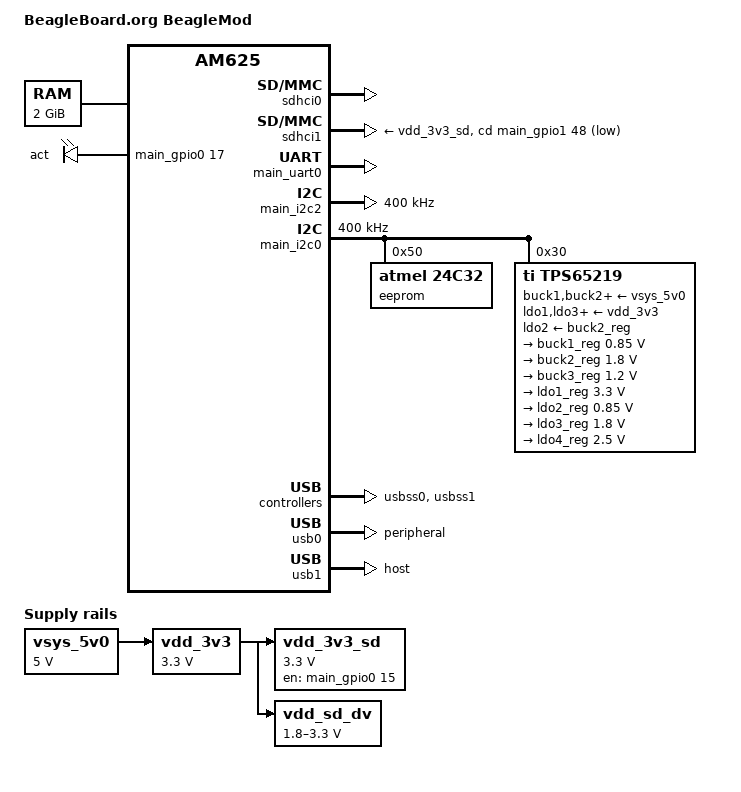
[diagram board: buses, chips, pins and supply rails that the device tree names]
// SPDX-License-Identifier: GPL-2.0

/dts-v1/;

#include <dt-bindings/leds/common.h>
#include <dt-bindings/gpio/gpio.h>
#include "k3-am625.dtsi"

/ {
	compatible = "beagle,am625-beaglemod", "ti,am625";
	model = "BeagleBoard.org BeagleMod";

	aliases {
		gpio0 = &main_gpio0;
		gpio1 = &main_gpio1;
		gpio2 = &mcu_gpio0;
		mmc0 = &sdhci0;
		mmc1 = &sdhci1;
		serial0 = &main_uart0;
		serial7 = &mcu_uart0;
		serial5 = &main_uart5;
		serial2 = &main_uart2;
	};

	chosen {
		stdout-path = "serial0:115200n8";
		base_dtb = "k3-am625-beaglemod.dts";
		base_dtb_timestamp = __TIMESTAMP__;
	};

	memory@80000000 {
		device_type = "memory";
		/* 2G RAM */
		reg = <0x00000000 0x80000000 0x00000000 0x80000000>;
	};

	reserved-memory {
		#address-cells = <2>;
		#size-cells = <2>;
		ranges;

		ramoops: ramoops@9ca00000 {
			compatible = "ramoops";
			reg = <0x00 0x9ca00000 0x00 0x00100000>;
			record-size = <0x8000>;
			console-size = <0x8000>;
			ftrace-size = <0x00>;
			pmsg-size = <0x8000>;
		};

		/* global cma region */
		linux,cma {
			compatible = "shared-dma-pool";
			reusable;
			size = <0x00 0x8000000>;
			linux,cma-default;
		};

		mcu_m4fss_dma_memory_region: m4f-dma-memory@9cb00000 {
			compatible = "shared-dma-pool";
			reg = <0x00 0x9cb00000 0x00 0x100000>;
			no-map;
		};

		mcu_m4fss_memory_region: m4f-memory@9cc00000 {
			compatible = "shared-dma-pool";
			reg = <0x00 0x9cc00000 0x00 0xe00000>;
			no-map;
		};

		secure_tfa_ddr: tfa@9e780000 {
			reg = <0x00 0x9e780000 0x00 0x80000>;
			no-map;
		};

		secure_ddr: optee@9e800000 {
			reg = <0x00 0x9e800000 0x00 0x01800000>;
			no-map;
		};

		wkup_r5fss0_core0_dma_memory_region: r5f-dma-memory@9db00000 {
			compatible = "shared-dma-pool";
			reg = <0x00 0x9db00000 0x00 0xc00000>;
			no-map;
		};
	};

	vsys_5v0: regulator-1 {
		compatible = "regulator-fixed";
		regulator-name = "vsys_5v0";
		regulator-min-microvolt = <5000000>;
		regulator-max-microvolt = <5000000>;
		regulator-always-on;
		regulator-boot-on;
	};

	vdd_3v3: regulator-2 {
		compatible = "regulator-fixed";
		regulator-name = "vdd_3v3";
		regulator-min-microvolt = <3300000>;
		regulator-max-microvolt = <3300000>;
		vin-supply = <&vsys_5v0>;
		regulator-always-on;
		regulator-boot-on;
	};

	vdd_3v3_sd: regulator-4 {
		/* output of TPS22918DBVR */
		pinctrl-names = "default";
		pinctrl-0 = <&vdd_3v3_sd_pins_default>;

		compatible = "regulator-fixed";
		regulator-name = "vdd_3v3_sd";
		regulator-min-microvolt = <3300000>;
		regulator-max-microvolt = <3300000>;
		enable-active-high;
		regulator-always-on;
		vin-supply = <&vdd_3v3>;
		gpio = <&main_gpio0 15 GPIO_ACTIVE_HIGH>;
	};

	vdd_sd_dv: regulator-5 {
		compatible = "regulator-gpio";
		regulator-name = "sd_hs200_switch";
		pinctrl-names = "default";
		pinctrl-0 = <&vdd_sd_dv_pins_default>;
		regulator-min-microvolt = <1800000>;
		regulator-max-microvolt = <3300000>;
		regulator-boot-on;
		vin-supply = <&vdd_3v3>;
		gpios = <&main_gpio1 12 GPIO_ACTIVE_HIGH>;
		states = <1800000 0x1>,
			 <3300000 0x0>;
	};

	leds {
		compatible = "gpio-leds";
		pinctrl-names = "default";
		pinctrl-0 = <&core_board_io>;

		led-1 {
			label = "act";
			gpios = <&main_gpio0 17 GPIO_ACTIVE_HIGH>;
			linux,default-trigger = "mmc1";
			default-state = "off";
		};
	};
};

&main_pmx0 {
	emmc_pins_default: emmc-pins-default {
		pinctrl-single,pins = <
			AM62X_IOPAD(0x0220, PIN_INPUT, 0) /* (Y3) MMC0_CMD */
			AM62X_IOPAD(0x0218, PIN_INPUT, 0) /* (AB1) MMC0_CLK */
			AM62X_IOPAD(0x0214, PIN_INPUT, 0) /* (AA2) MMC0_DAT0 */
			AM62X_IOPAD(0x0210, PIN_INPUT, 0) /* (AA1) MMC0_DAT1 */
			AM62X_IOPAD(0x020c, PIN_INPUT, 0) /* (AA3) MMC0_DAT2 */
			AM62X_IOPAD(0x0208, PIN_INPUT, 0) /* (Y4) MMC0_DAT3 */
			AM62X_IOPAD(0x0204, PIN_INPUT, 0) /* (AB2) MMC0_DAT4 */
			AM62X_IOPAD(0x0200, PIN_INPUT, 0) /* (AC1) MMC0_DAT5 */
			AM62X_IOPAD(0x01fc, PIN_INPUT, 0) /* (AD2) MMC0_DAT6 */
			AM62X_IOPAD(0x01f8, PIN_INPUT, 0) /* (AC2) MMC0_DAT7 */
		>;
	};

	sd_pins_default: sd-pins-default {
		pinctrl-single,pins = <
			AM62X_IOPAD(0x023c, PIN_INPUT, 0) /* (A21) MMC1_CMD */
			AM62X_IOPAD(0x0234, PIN_INPUT, 0) /* (B22) MMC1_CLK */
			AM62X_IOPAD(0x0230, PIN_INPUT, 0) /* (A22) MMC1_DAT0 */
			AM62X_IOPAD(0x022c, PIN_INPUT, 0) /* (B21) MMC1_DAT1 */
			AM62X_IOPAD(0x0228, PIN_INPUT, 0) /* (C21) MMC1_DAT2 */
			AM62X_IOPAD(0x0224, PIN_INPUT, 0) /* (D22) MMC1_DAT3 */
			AM62X_IOPAD(0x0240, PIN_INPUT, 7) /* (D17) MMC1_SDCD.GPIO1_48 */
		>;
	};

	vdd_3v3_sd_pins_default: vdd-3v3-sd-pins-default {
		pinctrl-single,pins = <
			AM62X_IOPAD(0x003c, PIN_OUTPUT, 7) /* (M25) GPMC0_AD0.GPIO0_15 */
		>;
	};

	vdd_sd_dv_pins_default: vdd-sd-pins-default {
		pinctrl-single,pins = <
			AM62X_IOPAD(0x01a8, PIN_OUTPUT, 7) /* (D20) MCASP0_AFSX.GPIO1_12 */
		>;
	};

	core_board_io: core-board-io {
		pinctrl-single,pins = <
			AM62X_IOPAD(0x0044, PIN_OUTPUT, 7) /* (N24) GPMC0_AD2.GPIO0_17 */
		>;
	};

	console_pins_default: console-pins-default {
		pinctrl-single,pins = <
			AM62X_IOPAD(0x01c8, PIN_INPUT, 0) /* (D14) UART0_RXD */
			AM62X_IOPAD(0x01cc, PIN_OUTPUT, 0) /* (E14) UART0_TXD */
		>;
	};

	i2c2_1v8_pins_default: i2c2-pins-default {
		pinctrl-single,pins = <
			AM62X_IOPAD(0x00b0, PIN_INPUT_PULLUP, 1) /* (K22) GPMC0_CSn2.I2C2_SCL */
			AM62X_IOPAD(0x00b4, PIN_INPUT_PULLUP, 1) /* (K24) GPMC0_CSn3.I2C2_SDA */
		>;
	};

	local_i2c_pins_default: local-i2c-pins-default {
		pinctrl-single,pins = <
			AM62X_IOPAD(0x01e0, PIN_INPUT_PULLUP, 0) /* (B16) I2C0_SCL */
			AM62X_IOPAD(0x01e4, PIN_INPUT_PULLUP, 0) /* (A16) I2C0_SDA */
		>;
	};

	pmic_irq_pins_default: pmic-irq-pins-default {
		pinctrl-single,pins = <
			AM62X_IOPAD(0x01f4, PIN_INPUT_PULLUP, 0) /* (D16) EXTINTn */
		>;
	};

	mcasp1_pins_default: mcasp1-pins-default {
		pinctrl-single,pins = <
			AM62X_IOPAD(0x0090, PIN_INPUT, 2) /* (M24) GPMC0_BE0n_CLE.MCASP1_ACLKX */
			AM62X_IOPAD(0x0098, PIN_INPUT, 2) /* (U23) GPMC0_WAIT0.MCASP1_AFSX */
			AM62X_IOPAD(0x008c, PIN_INPUT, 2) /* (L25) GPMC0_WEn.MCASP1_AXR0 */
			AM62X_IOPAD(0x0088, PIN_OUTPUT, 2) /* (L24) GPMC0_OEn_REn.MCASP1_AXR1 */
			AM62X_IOPAD(0x007c, PIN_INPUT, 2) /* (P25) GPMC0_CLK.MCASP1_AXR3 */
		>;
	};

	main_i2c1_pins_default: main-i2c1-pins-default {
		pinctrl-single,pins = <
			AM62X_IOPAD(0x01e8, PIN_INPUT_PULLUP, 0) /* (B17) I2C1_SCL */
			AM62X_IOPAD(0x01ec, PIN_INPUT_PULLUP, 0) /* (A17) I2C1_SDA */
		>;
	};
};

&mcu_pmx0 {
	wkup_i2c0_pins_default: wkup-i2c0-pins-default {
		pinctrl-single,pins = <
			AM62X_MCU_IOPAD(0x004c, PIN_INPUT_PULLUP, 0) /* (B9) WKUP_I2C0_SCL */
			AM62X_MCU_IOPAD(0x0050, PIN_INPUT_PULLUP, 0) /* (A9) WKUP_I2C0_SDA */
		>;
	};

	mcu_i2c0_pins_default: i2c-qwiic-pins-default {
		pinctrl-single,pins = <
			AM62X_MCU_IOPAD(0x0044, PIN_INPUT, 0) /* (A8) MCU_I2C0_SCL */
			AM62X_MCU_IOPAD(0x0048, PIN_INPUT, 0) /* (D10) MCU_I2C0_SDA */
		>;
	};
};

&sdhci0 {
	pinctrl-names = "default";
	pinctrl-0 = <&emmc_pins_default>;
	ti,driver-strength-ohm = <50>;
	disable-wp;
	status = "okay";
};

&sdhci1 {
	/* SD/MMC */
	pinctrl-names = "default";
	pinctrl-0 = <&sd_pins_default>;

	vmmc-supply = <&vdd_3v3_sd>;
	vqmmc-supply = <&vdd_sd_dv>;
	ti,driver-strength-ohm = <50>;
	disable-wp;
	cd-gpios = <&main_gpio1 48 GPIO_ACTIVE_LOW>;
	cd-debounce-delay-ms = <100>;
	ti,fails-without-test-cd;
	status = "okay";
};

&main_uart0 {
	pinctrl-names = "default";
	pinctrl-0 = <&console_pins_default>;
	status = "okay";
};

/* There is a MCU(MSPM0L1306SRGE) on main board, which can be touched via i2c2. */
&main_i2c2 {
	pinctrl-names = "default";
	pinctrl-0 = <&i2c2_1v8_pins_default>;
	clock-frequency = <400000>;
	status = "okay";
};

&main_i2c0 {
	pinctrl-names = "default";
	pinctrl-0 = <&local_i2c_pins_default>;
	clock-frequency = <400000>;
	status = "okay";

	eeprom@50 {
		compatible = "atmel,24c32";
		reg = <0x50>;
	};

	tps65219: pmic@30 {
		compatible = "ti,tps65219";
		reg = <0x30>;
		buck1-supply = <&vsys_5v0>;
		buck2-supply = <&vsys_5v0>;
		buck3-supply = <&vsys_5v0>;
		ldo1-supply = <&vdd_3v3>;
		ldo2-supply = <&buck2_reg>;
		ldo3-supply = <&vdd_3v3>;
		ldo4-supply = <&vdd_3v3>;

		pinctrl-names = "default";
		pinctrl-0 = <&pmic_irq_pins_default>;
		interrupt-parent = <&gic500>;
		interrupts = <GIC_SPI 224 IRQ_TYPE_LEVEL_HIGH>;
		interrupt-controller;
		#interrupt-cells = <2>;

		system-power-controller;

		regulators {
			buck1_reg: buck1 {
				regulator-name = "VDD_CORE";
				regulator-min-microvolt = <850000>;
				regulator-max-microvolt = <850000>;
				regulator-boot-on;
				regulator-always-on;
			};

			buck2_reg: buck2 {
				regulator-name = "VDD_1V8";
				regulator-min-microvolt = <1800000>;
				regulator-max-microvolt = <1800000>;
				regulator-boot-on;
				regulator-always-on;
			};

			buck3_reg: buck3 {
				regulator-name = "VDD_1V2";
				regulator-min-microvolt = <1200000>;
				regulator-max-microvolt = <1200000>;
				regulator-boot-on;
				regulator-always-on;
			};

			ldo1_reg: ldo1 {
				regulator-name = "VDD_SD_3V3";
				regulator-min-microvolt = <3300000>;
				regulator-max-microvolt = <3300000>;
				regulator-allow-bypass;
				regulator-boot-on;
				regulator-always-on;
			};

			ldo2_reg: ldo2 {
				regulator-name = "VDDA_0V85";
				regulator-min-microvolt = <850000>;
				regulator-max-microvolt = <850000>;
				regulator-boot-on;
				regulator-always-on;
			};

			ldo3_reg: ldo3 {
				regulator-name = "VDDA_1V8";
				regulator-min-microvolt = <1800000>;
				regulator-max-microvolt = <1800000>;
				regulator-boot-on;
				regulator-always-on;
			};

			ldo4_reg: ldo4 {
				regulator-name = "VDD_2V5";
				regulator-min-microvolt = <2500000>;
				regulator-max-microvolt = <2500000>;
				regulator-boot-on;
				regulator-always-on;
			};
		};
	};
};

&main_i2c1 {
	pinctrl-names = "default";
	pinctrl-0 = <&main_i2c1_pins_default>;
	clock-frequency = <10000>;
	status = "disabled";
};

&mcu_i2c0 {
	pinctrl-names = "default";
	pinctrl-0 = <&mcu_i2c0_pins_default>;
	clock-frequency = <100000>;
	status = "disabled";
};

&wkup_i2c0 {
	pinctrl-names = "default";
	pinctrl-0 = <&wkup_i2c0_pins_default>;
	clock-frequency = <400000>;
	status = "disabled";
};

&mcasp1 {
	status = "disabled";
	pinctrl-names = "default";
	pinctrl-0 = <&mcasp1_pins_default>;

	#sound-dai-cells = <0>;

	op-mode = <0>;          /* MCASP_IIS_MODE */
	tdm-slots = <2>;

	serial-dir = <  /* 0: INACTIVE, 1: TX, 2: RX */
	       0 0 0 0
	       0 0 0 0
	       0 0 0 0
	       0 0 0 0
	>;
	tx-num-evt = <32>;
	rx-num-evt = <32>;
};

&usbss0 {
       status = "okay";
};

&usb0 {
       dr_mode = "peripheral";
};

&usbss1 {
       status = "okay";
};

&usb1 {
       dr_mode = "host";
};
